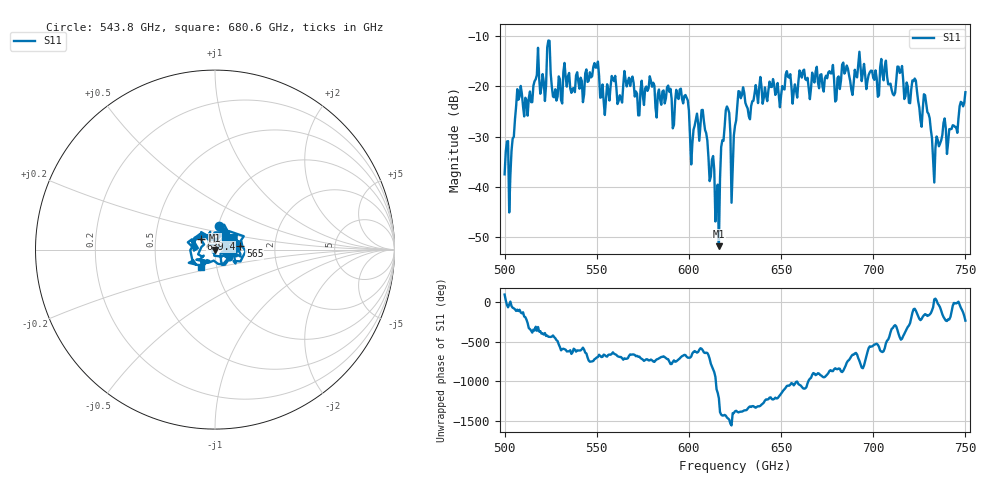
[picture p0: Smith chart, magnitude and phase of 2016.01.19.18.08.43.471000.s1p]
!Created with skrf (http://scikit-rf.org).
# GHz S RI R 50.0
!freq ReS11 ImS11
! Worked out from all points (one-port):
!   401 points, 500 GHz to 750 GHz, reference 50 ohm
!   lowest |S11| = -51.9 dB at 616.2 GHz (marker M1), VSWR 1.01, Z = 49.8 - j0.178 ohm
!   |S11| at or under -10 dB: start of sweep to end of sweep
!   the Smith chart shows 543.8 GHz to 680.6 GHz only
!   S11 on the Smith chart (normalised r, x): 543.8 GHz: 1.01, +0.27; 565 GHz: 1.33, +0.06; 639.4 GHz: 0.85, +0.10; 680.6 GHz: 0.84, -0.16
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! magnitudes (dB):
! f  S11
! 500 GHz  -37.5
! 503.8 GHz  -32.8
! 508.1 GHz  -22.1
! 523.8 GHz  -10.8
! 526.9 GHz  -22.2
! 531.2 GHz  -23.4
! 543.8 GHz  -17.4
! 549.4 GHz  -16.3
! 553.1 GHz  -19.6
! 562.5 GHz  -21.8
! 565 GHz  -16.9
! 593.8 GHz  -22.2
! 601.9 GHz  -31.4
! 608.1 GHz  -26.9
! 615 GHz  -42.2
! 616.2 GHz  -51.9
! 620.6 GHz  -24.0
! 623.1 GHz  -43.2
! 625 GHz  -27.9
! 628.1 GHz  -22.4
! 639.4 GHz  -20.0
! 656.2 GHz  -23.5
! 680.6 GHz  -18.3
! 687.5 GHz  -18.9
! 718.8 GHz  -20.0
! 728.8 GHz  -23.5
! 733.8 GHz  -32.3
! 750 GHz  -21.2
